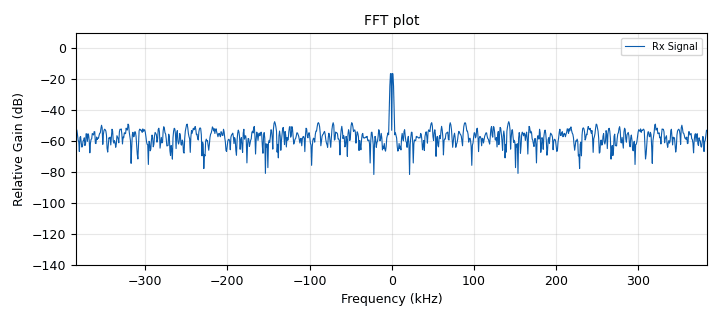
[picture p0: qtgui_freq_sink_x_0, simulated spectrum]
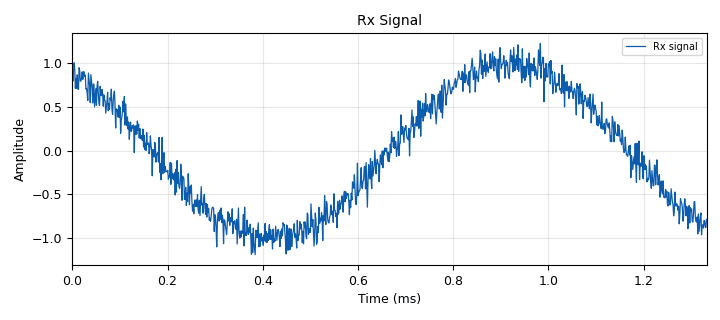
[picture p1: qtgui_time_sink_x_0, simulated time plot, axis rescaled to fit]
options:
  parameters:
    author: Tomas e Rafael
    generate_options: qt_gui
    id: snr_test
    output_language: python
    title: BEST PLOTS EVER
  states: {}

blocks:
- name: noise_level
  id: variable_qtgui_range
  parameters:
    start: '0'
    step: '5e-3'
    stop: '300e-3'
    value: '100e-3'
  states: {}
- name: samp_rate
  id: variable
  parameters:
    value: '768000'
  states: {}
- name: signal_level
  id: variable_qtgui_range
  parameters:
    start: '0'
    step: '500e-3'
    stop: '4'
    value: '1'
  states: {}
- name: analog_noise_source_x_0
  id: analog_noise_source_x
  parameters:
    amp: noise_level
    noise_type: analog.GR_GAUSSIAN
    seed: '0'
    type: float
  states: {}
- name: analog_sig_source_x_0
  id: analog_sig_source_x
  parameters:
    amp: signal_level
    freq: '1000'
    offset: '0'
    phase: '0'
    samp_rate: samp_rate
    type: float
    waveform: analog.GR_COS_WAVE
  states: {}
- name: blocks_add_xx_0
  id: blocks_add_xx
  parameters:
    type: float
  states: {}
- name: blocks_divide_xx_1
  id: blocks_divide_xx
  parameters:
    type: float
  states: {}
- name: blocks_nlog10_ff_0
  id: blocks_nlog10_ff
  parameters:
    k: '0'
    n: '20'
  states: {}
- name: blocks_rms_xx_0
  id: blocks_rms_xx
  parameters:
    alpha: '0.0001'
    type: float
  states: {}
- name: blocks_rms_xx_1
  id: blocks_rms_xx
  parameters:
    alpha: '0.0001'
    type: float
  states: {}
- name: blocks_throttle2_0
  id: blocks_throttle2
  parameters:
    samples_per_second: samp_rate
    type: float
  states: {}
- name: qtgui_freq_sink_x_0
  id: qtgui_freq_sink_x
  parameters:
    alias: Rx signal
    bw: samp_rate
    fc: '0'
    fftsize: '1024'
    gui_hint: tab_manager@1
    label1: Rx Signal
    name: FFT plot
    type: float
  states: {}
- name: qtgui_freq_sink_x_1
  id: qtgui_freq_sink_x
  parameters:
    bw: samp_rate
    fc: '0'
    fftsize: '1024'
    type: complex
  states: {state: disabled}
- name: qtgui_number_sink_snr
  id: qtgui_number_sink
  parameters:
    alias: SNR
    autoscale: 'True'
    graph_type: qtgui.NUM_GRAPH_HORIZ
    gui_hint: tab_manager@1
    label1: SNR
    name: SNR(dB)
    type: float
    unit1: dB
  states: {}
- name: qtgui_time_sink_x_0
  id: qtgui_time_sink_x
  parameters:
    grid: 'True'
    gui_hint: tab_manager@0
    label1: Rx signal
    name: Rx Signal
    size: '1024'
    srate: samp_rate
    type: float
    yunit: V
  states: {}
- name: tab_manager
  id: qtgui_tab_widget
  parameters:
    label0: Time
    label1: Frequency
    num_tabs: '2'
  states: {}

connections:
- [analog_noise_source_x_0, '0', blocks_add_xx_0, '1']
- [analog_noise_source_x_0, '0', blocks_rms_xx_1, '0']
- [analog_sig_source_x_0, '0', blocks_add_xx_0, '0']
- [analog_sig_source_x_0, '0', blocks_rms_xx_0, '0']
- [blocks_add_xx_0, '0', blocks_throttle2_0, '0']
- [blocks_divide_xx_1, '0', blocks_nlog10_ff_0, '0']
- [blocks_nlog10_ff_0, '0', qtgui_number_sink_snr, '0']
- [blocks_rms_xx_0, '0', blocks_divide_xx_1, '0']
- [blocks_rms_xx_1, '0', blocks_divide_xx_1, '1']
- [blocks_throttle2_0, '0', qtgui_freq_sink_x_0, '0']
- [blocks_throttle2_0, '0', qtgui_time_sink_x_0, '0']

metadata:
  file_format: 1
  grc_version: 3.10.10.0
